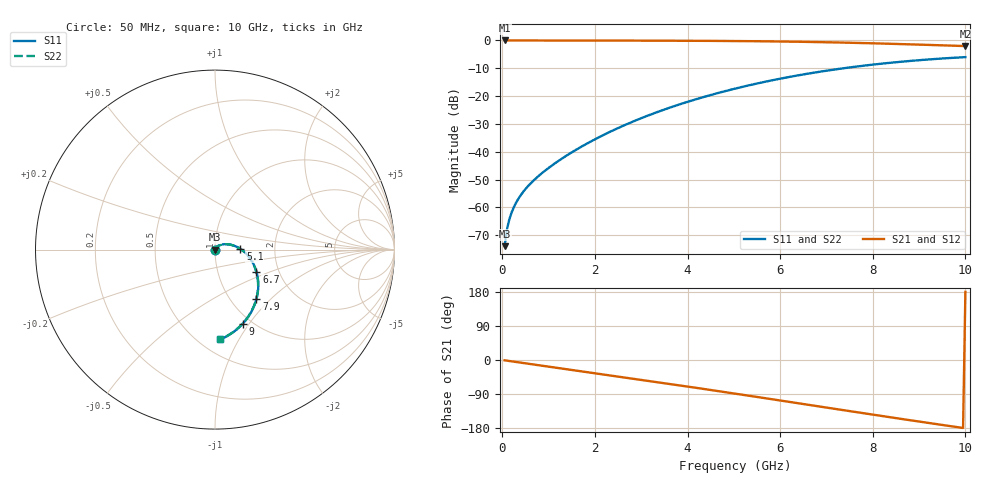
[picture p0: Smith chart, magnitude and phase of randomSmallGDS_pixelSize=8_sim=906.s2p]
! freq	dB(S11)	phase(S11)	dB(S12)	phase(S12)
!  dB(S21)	phase(S21)	dB(S22)	phase(S22)
!S-par simulation data
#  GHz  S  DB  R 50
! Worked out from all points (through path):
!   200 points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, 50 MHz to 10 GHz, reference 50 ohm
!   highest |S21| = 0.00 dB at 50 MHz (marker M1); lowest = -2.0 dB at 10 GHz (marker M2)
!   group delay of S21, straight-line fit = 50.4 ps
!   lowest |S11| = -74.0 dB at 50 MHz (marker M3), VSWR 1.00, Z = 50 + j0.0198 ohm
!   |S11| at or under -10 dB: start of sweep to 7.366 GHz
!   |S22| runs from -74.0 to -6.0 dB; largest |S21 - S12| = 0
!   S11 on the Smith chart (normalised r, x): 50 MHz: 1.00, +0.00; 5.1 GHz: 1.33, +0.01; 6.7 GHz: 1.54, -0.40; 7.9 GHz: 1.30, -0.83; 9 GHz: 0.91, -0.93; 10 GHz: 0.63, -0.84
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0.05  -73.95 81.2  -0.00 -0.9  -0.00 -0.9  -73.95 81.2
0.1  -67.98 84.7  -0.00 -1.7  -0.00 -1.7  -67.98 84.7
0.15  -64.43 85.5  -0.00 -2.6  -0.00 -2.6  -64.44 85.4
0.2  -61.90 85.6  -0.00 -3.5  -0.00 -3.5  -61.90 85.5
0.3  -58.25 85.0  -0.00 -5.2  -0.00 -5.2  -58.25 84.9
0.45  -54.45 83.6  -0.01 -7.8  -0.01 -7.8  -54.46 83.4
0.65  -50.75 81.2  -0.01 -11.3  -0.01 -11.3  -50.75 80.9
0.95  -46.45 76.9  -0.02 -16.5  -0.02 -16.5  -46.46 76.6
1.3  -42.33 71.3  -0.02 -22.5  -0.02 -22.5  -42.34 70.9
1.75  -37.79 63.5  -0.03 -30.3  -0.03 -30.3  -37.80 63.1
2.55  -31.12 48.9  -0.05 -44.3  -0.05 -44.3  -31.12 48.4
3.4  -25.42 33.2  -0.08 -59.3  -0.08 -59.3  -25.43 32.8
4.25  -20.80 17.5  -0.13 -74.6  -0.13 -74.6  -20.81 17.2
5.05  -17.22 2.8  -0.21 -89.2  -0.21 -89.2  -17.22 2.4
5.1  -17.02 1.8  -0.22 -90.1  -0.22 -90.1  -17.02 1.5
5.9  -14.07 -13.0  -0.35 -104.9  -0.35 -104.9  -14.08 -13.4
6.7  -11.66 -27.9  -0.55 -119.9  -0.55 -119.9  -11.66 -28.3
7.3  -10.15 -39.1  -0.74 -131.1  -0.74 -131.1  -10.15 -39.4
7.9  -8.88 -50.1  -0.98 -142.3  -0.98 -142.3  -8.88 -50.3
8.35  -8.07 -58.2  -1.18 -150.6  -1.18 -150.6  -8.07 -58.5
9  -7.09 -69.7  -1.49 -162.5  -1.49 -162.5  -7.10 -70.0
10  -5.99 -86.8  -2.02 179.8  -2.02 179.8  -6.00 -87.0
